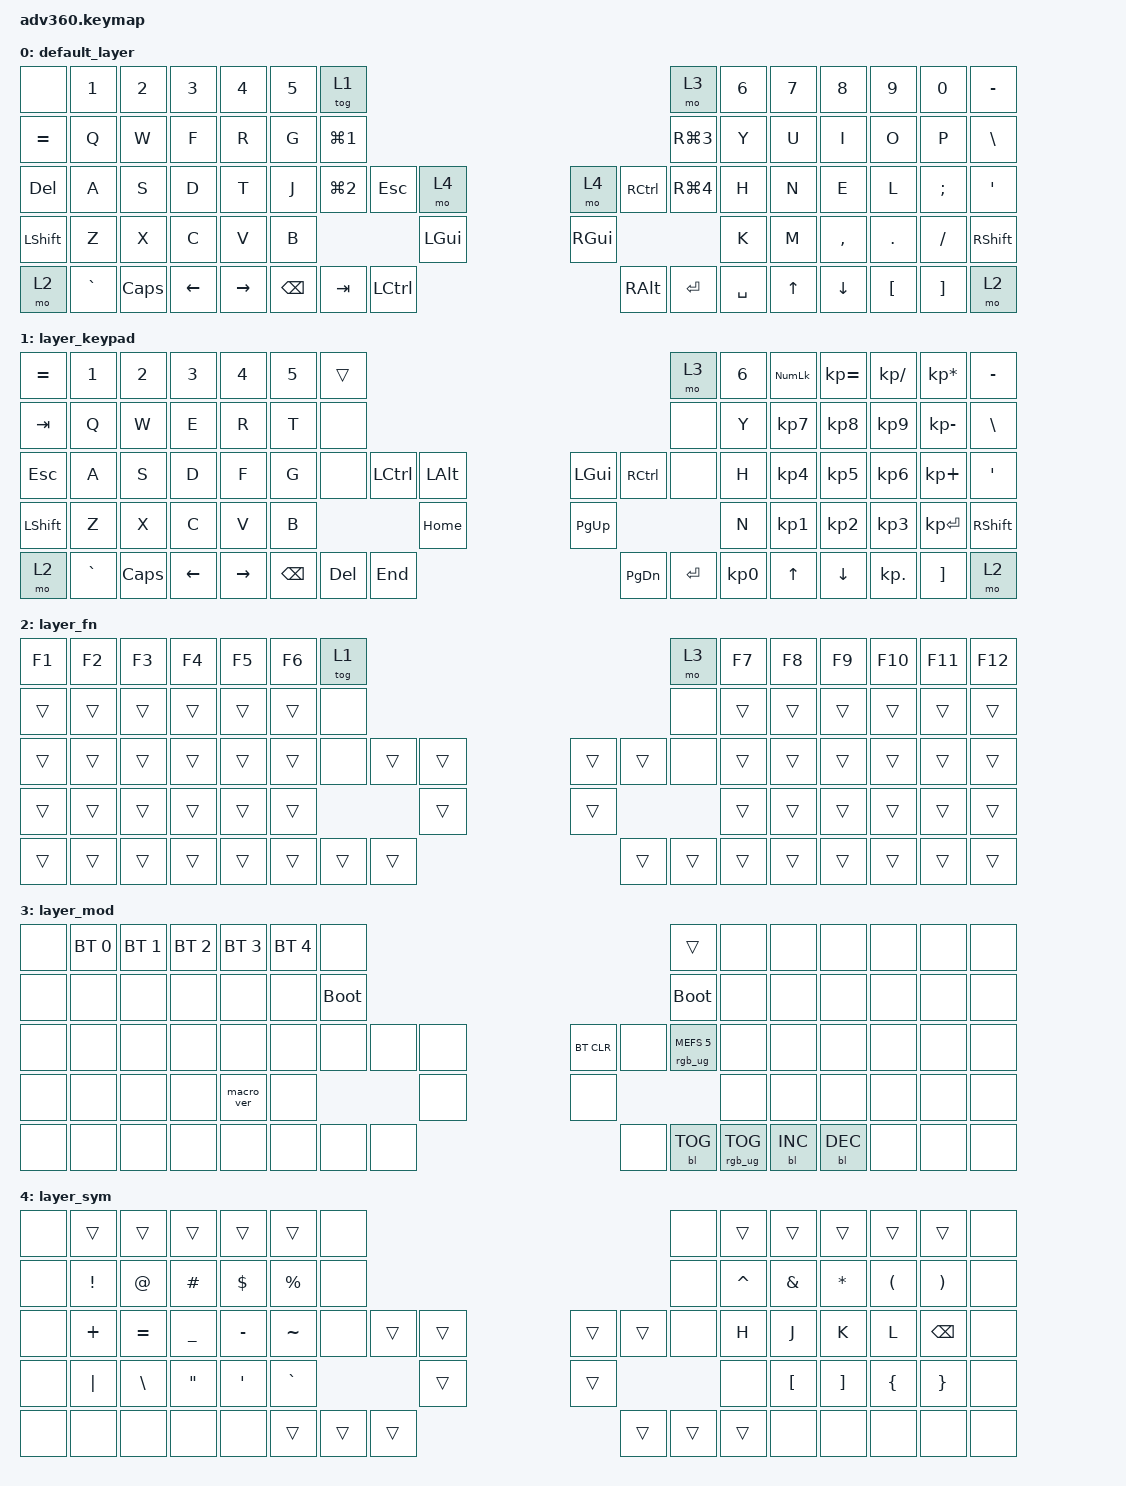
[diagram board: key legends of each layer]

/*
 * Copyright (c) 2020 The ZMK Contributors
 *
 * SPDX-License-Identifier: MIT
 */


/* THIS FILE WAS GENERATED!
 *
 * This file was generated automatically. You may or may not want to
 * edit it directly.
 */

#include <behaviors.dtsi>
#include <dt-bindings/zmk/keys.h>
#include <dt-bindings/zmk/bt.h>
#include <dt-bindings/zmk/rgb.h>
#include <dt-bindings/zmk/backlight.h>

/ {
  behaviors {
    #include "macros.dtsi"
    #include "version.dtsi"

    hm: homerow_mods {
        compatible = "zmk,behavior-hold-tap";
        label = "HOMEROW_MODS";
        #binding-cells = <2>;
        tapping-term-ms = <200>;
        quick_tap_ms = <175>;
        flavor = "tap-preferred";
        bindings = <&kp>, <&kp>;
    };
  };

    keymap {
        compatible = "zmk,keymap";


        default_layer {
            bindings = <
          &none     &kp N1    &kp N2    &kp N3     &kp N4  &kp N5                   &tog 1                                                                                    &mo 3  &kp N6  &kp N7     &kp N8    &kp N9         &kp N0        &kp MINUS
      &kp EQUAL      &kp Q     &kp W     &kp F      &kp R   &kp G               &kp LG(N1)                                                                               &kp RG(N3)   &kp Y   &kp U      &kp I     &kp O          &kp P         &kp BSLH
        &kp DEL      &kp A     &kp S     &kp D      &kp T   &kp J               &kp LG(N2)  &kp ESC             &mo 4                          &mo 4  &kp RIGHT_CONTROL  &kp RG(N4)   &kp H   &kp N      &kp E     &kp L  &kp SEMICOLON          &kp SQT
 &kp LEFT_SHIFT      &kp Z     &kp X     &kp C      &kp V   &kp B                                        &kp LEFT_GUI                  &kp RIGHT_GUI                                  &kp K   &kp M  &kp COMMA   &kp DOT       &kp FSLH  &kp RIGHT_SHIFT
          &mo 2  &kp GRAVE  &kp CAPS  &kp LEFT  &kp RIGHT                    &kp BACKSPACE  &kp TAB  &kp LEFT_CONTROL                  &kp RIGHT_ALT          &kp ENTER   &kp SPACE          &kp UP   &kp DOWN  &kp LBKT       &kp RBKT            &mo 2
            >;
        };

        layer_keypad {
            bindings = <
 &kp EQUAL     &kp N1    &kp N2    &kp N3     &kp N4  &kp N5              &trans                                                                 &mo 3  &kp N6  &kp KP_NUM  &kp KP_EQUAL  &kp KP_DIVIDE  &kp KP_MULTIPLY  &kp MINUS
   &kp TAB      &kp Q     &kp W     &kp E      &kp R   &kp T               &none                                                                 &none   &kp Y   &kp KP_N7     &kp KP_N8      &kp KP_N9     &kp KP_MINUS   &kp BSLH
   &kp ESC      &kp A     &kp S     &kp D      &kp F   &kp G               &none  &kp LCTRL  &kp LALT                   &kp LGUI  &kp RCTRL      &none   &kp H   &kp KP_N4     &kp KP_N5      &kp KP_N6      &kp KP_PLUS    &kp SQT
 &kp LSHFT      &kp Z     &kp X     &kp C      &kp V   &kp B                                 &kp HOME                  &kp PG_UP                         &kp N   &kp KP_N1     &kp KP_N2      &kp KP_N3     &kp KP_ENTER  &kp RSHFT
     &mo 2  &kp GRAVE  &kp CAPS  &kp LEFT  &kp RIGHT                    &kp BSPC    &kp DEL   &kp END                  &kp PG_DN  &kp ENTER  &kp KP_N0              &kp UP      &kp DOWN     &kp KP_DOT         &kp RBKT      &mo 2
            >;
        };

        layer_fn {
            bindings = <
 &kp F1  &kp F2  &kp F3  &kp F4  &kp F5  &kp F6            &tog 1                                                   &mo 3  &kp F7  &kp F8  &kp F9  &kp F10  &kp F11  &kp F12
 &trans  &trans  &trans  &trans  &trans  &trans             &none                                                   &none  &trans  &trans  &trans   &trans   &trans   &trans
 &trans  &trans  &trans  &trans  &trans  &trans             &none  &trans  &trans                  &trans  &trans   &none  &trans  &trans  &trans   &trans   &trans   &trans
 &trans  &trans  &trans  &trans  &trans  &trans                            &trans                  &trans                  &trans  &trans  &trans   &trans   &trans   &trans
 &trans  &trans  &trans  &trans  &trans                    &trans  &trans  &trans                  &trans  &trans  &trans          &trans  &trans   &trans   &trans   &trans
            >;
        };

        layer_mod {
            bindings = <
  &none  &bt BT_SEL 0  &bt BT_SEL 1  &bt BT_SEL 2  &bt BT_SEL 3  &bt BT_SEL 4                  &none                                                                          &trans   &none       &none       &none   &none   &none   &none
  &none         &none         &none         &none         &none         &none            &bootloader                                                                     &bootloader   &none       &none       &none   &none   &none   &none
  &none         &none         &none         &none         &none         &none                  &none   &none   &none                  &bt BT_CLR       &none  &rgb_ug RGB_MEFS_CMD 5   &none       &none       &none   &none   &none   &none
  &none         &none         &none         &none    &macro_ver         &none                                  &none                       &none                                       &none       &none       &none   &none   &none   &none
  &none         &none         &none         &none         &none                                &none   &none   &none                       &none  &bl BL_TOG         &rgb_ug RGB_TOG          &bl BL_INC  &bl BL_DEC   &none   &none   &none
            >;
        };

        layer_sym {
            bindings = <
  &none           &trans         &trans             &trans            &trans       &trans             &none                                                   &none     &trans            &trans             &trans                &trans                 &trans   &none
  &none  &kp EXCLAMATION         &kp AT           &kp HASH        &kp DOLLAR  &kp PERCENT             &none                                                   &none  &kp CARET          &kp AMPS          &kp ASTRK  &kp LEFT_PARENTHESIS  &kp RIGHT_PARENTHESIS   &none
  &none         &kp PLUS      &kp EQUAL     &kp UNDERSCORE         &kp MINUS    &kp TILDE             &none  &trans  &trans                  &trans  &trans   &none      &kp H             &kp J              &kp K                 &kp L          &kp BACKSPACE   &none
  &none         &kp PIPE  &kp BACKSLASH  &kp DOUBLE_QUOTES  &kp SINGLE_QUOTE    &kp GRAVE                            &trans                  &trans                      &none  &kp LEFT_BRACKET  &kp RIGHT_BRACKET        &kp LEFT_BRACE        &kp RIGHT_BRACE   &none
  &none            &none          &none              &none             &none                         &trans  &trans  &trans                  &trans  &trans  &trans                        &none              &none                 &none                  &none   &none
            >;
        };

    };
};
